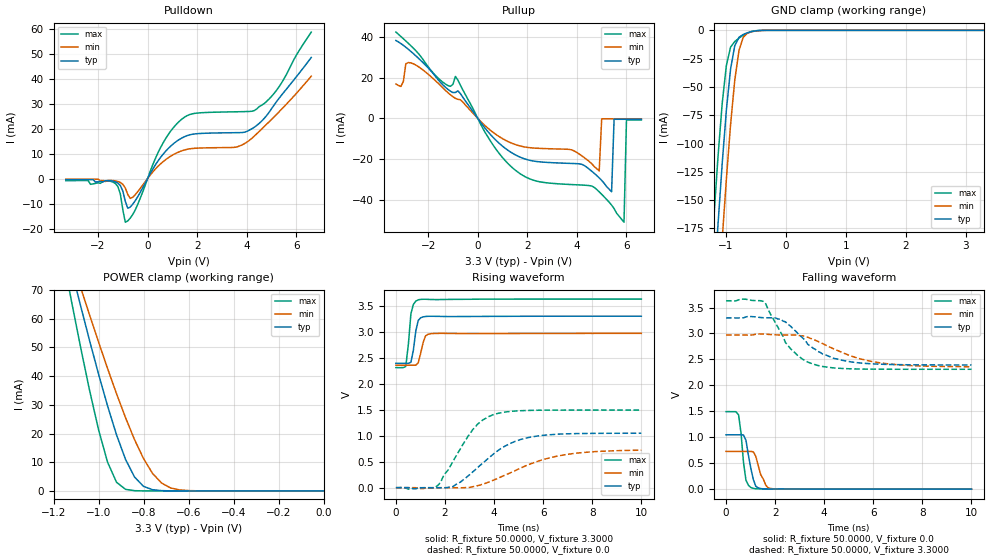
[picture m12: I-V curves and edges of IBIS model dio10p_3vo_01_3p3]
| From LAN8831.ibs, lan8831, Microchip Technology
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|   Model dio10p_3vo_01_3p3
[Model]  dio10p_3vo_01_3p3
Model_type I/O
Polarity   Non-Inverting
Enable   Active-Low
Vinl =   0.0V
Vinh =   3.3000V
Vmeas =  1.6500V
Vref =   0.0V
C_comp   5.0000pF   5.0000pF   5.0000pF
[Temperature Range]   42.0000   0.1250k   -40.0000
[Voltage Range]   3.3000V   2.9700V   3.6300V
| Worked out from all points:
|   slope of the pulldown table from 0 to 0.495 V, typ, clamps not added: 61.3 ohm
|   slope of the pullup table from 0 to 0.495 V, typ, clamps not added: 64.3 ohm
|   GND clamp passes 1 mA (typ) near -0.56 V on its own axis
|   POWER clamp passes 1 mA (typ) near -0.78 V on its own axis
|   rising waveform, R_fixture 50.0000, V_fixture 3.3000: 20-80 % time 180ps typ, 200ps min, 161ps max; typ from 2.39 V to 3.3 V
|   rising waveform, R_fixture 50.0000, V_fixture 0.0: 20-80 % time 1.71ns typ, 2.31ns min, 1.23ns max; typ from 0 V to 1.05 V
|   falling waveform, R_fixture 50.0000, V_fixture 0.0: 20-80 % time 253ps typ, 319ps min, 197ps max; typ from 1.05 V to 0 V
|   falling waveform, R_fixture 50.0000, V_fixture 3.3000: 20-80 % time 1.44ns typ, 1.99ns min, 1.1ns max; typ from 3.3 V to 2.39 V
[Pulldown]
|Voltage   I(typ)   I(min)   I(max)
-3.3V     -470.7uA   -268.2uA   -839.5uA
-1.3V     -1.343mA   -944.2uA   -2.009mA
-1.1V     -2.801mA   -1.574mA   -6.17mA
-900mV    -9.135mA   -3.779mA   -17.47mA
-800mV    -11.89mA   -6.357mA   -16.97mA
-600mV    -10.27mA   -7.48mA    -14.4mA
500mV     8.151mA    5.65mA     11.94mA
1.2V      15.1mA     10.37mA    22.13mA
3.6V      18.35mA    12.66mA    26.71mA
4.4V      21.23mA    17.88mA    27.81mA
5.3V      32.07mA    26.67mA    36.68mA
6.6V      48.42mA    40.96mA    58.59mA
[Pullup]
|Voltage   I(typ)   I(min)   I(max)
-3.3V     38.2mA     16.83mA    42.32mA
-2.6V     31.8mA     26.79mA    34.46mA
-1.3V     15.22mA    13.7mA     16.81mA
-900mV    12.69mA    9.802mA    20.56mA
1.5V      -17.79mA   -12.77mA   -25.28mA
4.9V      -29.2mA    -25.79mA   -36.06mA
5V        -30.44mA   -252.7uA   -37.27mA
5.4V      -36mA      -258.6uA   -42.58mA
5.5V      -447.1uA   -259.9uA   -44.27mA
5.9V      -458.3uA   -264.7uA   -50.95mA
6V        -460.6uA   -265.9uA   -805.3uA
6.6V      -472.5uA   -272.4uA   -833uA
[GND_clamp]
|Voltage   I(typ)   I(min)   I(max)
-3.3V     -2.149A    -2.209A    -2.099A
-1.27V    -288.4mA   -359.5mA   -225.4mA
-1.2V     -229.1mA   -299.7mA   -166.9mA
-1.13V    -171.9mA   -241.4mA   -112.1mA
-1.06V    -118.1mA   -184.9mA   -64.73mA
-990mV    -70.49mA   -131.6mA   -31.02mA
-920mV    -34.14mA   -83.35mA   -14.85mA
-850mV    -13.56mA   -43.87mA   -9.884mA
-780mV    -6.166mA   -17.92mA   -6.843mA
-710mV    -3.679mA   -6.17mA    -4.35mA
-360mV    -21.94uA   -52.7uA    -4.997uA
3.3V      978.8pA    61.69nA    807.4pA
[POWER_clamp]
|Voltage   I(typ)   I(min)   I(max)
-3.28V    820.8mA    663.8mA    1.036A
-1.16V    89.77mA    90.77mA    82.4mA
-1.12V    77.07mA    80.82mA    66.03mA
-1.08V    64.6mA     71mA       50.17mA
-1.04V    52.45mA    61.34mA    35.12mA
-960mV    29.66mA    42.7mA     10.06mA
-920mV    19.55mA    33.87mA    3.016mA
-880mV    11mA       25.53mA    557.8uA
-800mV    1.595mA    11.28mA    12.04uA
-720mV    103.3uA    2.757mA    250.7nA
-640mV    5.814uA    357.2uA    9.889nA
0V        978.8pA    4.152nA    1.25nA
[Ramp]
| variable   typ   min   max
dV/dt_r  0.6286/1.6802n   0.4327/2.2897n   0.8964/1.1927n
dV/dt_f  0.5440/1.4789n   0.3664/1.9697n   0.7919/1.0869n
R_load = 50.0000
[Rising Waveform]
R_fixture= 50.0000
V_fixture= 3.3000
V_fixture_min= 2.9700
V_fixture_max= 3.6300
|time   V(typ)   V(min)   V(max)
0s        2.393V     2.357V     2.311V
400ps     2.394V     2.357V     2.331V
510ps     2.394V     2.357V     2.772V
610ps     2.413V     2.357V     3.345V
710ps     2.643V     2.357V     3.526V
810ps     3.016V     2.358V     3.59V
910ps     3.22V      2.405V     3.616V
1.21ns    3.296V     2.922V     3.626V
1.41ns    3.299V     2.963V     3.622V
10ns      3.3V       2.97V      3.63V
[Rising Waveform]
R_fixture= 50.0000
V_fixture= 0.0
V_fixture_min= 0.0
V_fixture_max= 0.0
|time   V(typ)   V(min)   V(max)
0s        227.6uV    147.4uV    468.9uV
1.52ns    -501.3uV   -564.9uV   -1.134mV
1.72ns    -1.547mV   -25.07uV   48.24mV
2.32ns    20.98mV    -1.025mV   502.3mV
3.13ns    304.2mV    18.3mV     1.118V
3.94ns    634.1mV    138.1mV    1.401V
4.65ns    849.3mV    283.5mV    1.466V
5.66ns    987mV      488.3mV    1.489V
7.37ns    1.041V     664.4mV    1.494V
10ns      1.048V     721.2mV    1.494V
[Falling Waveform]
R_fixture= 50.0000
V_fixture= 0.0
V_fixture_min= 0.0
V_fixture_max= 0.0
|time   V(typ)   V(min)   V(max)
0s        1.048V     727.5mV    1.493V
510ps     1.048V     727.7mV    1.433V
610ps     1.047V     727.6mV    1.083V
710ps     1.045V     727.6mV    521.3mV
810ps     943.5mV    727.5mV    175.9mV
1.11ns    188mV      719.9mV    14.99mV
1.21ns    57.42mV    636.1mV    7.909mV
1.41ns    12.54mV    281mV      6.358mV
1.82ns    2.592mV    13.99mV    3.785mV
10ns      2.431uV    22.42uV    -221.8nV
[Falling Waveform]
R_fixture= 50.0000
V_fixture= 3.3000
V_fixture_min= 2.9700
V_fixture_max= 3.6300
|time   V(typ)   V(min)   V(max)
0s        3.3V       2.97V      3.629V
1.52ns    3.304V     2.99V      3.618V
2.22ns    3.278V     2.971V     3.026V
2.42ns    3.224V     2.971V     2.827V
2.63ns    3.141V     2.971V     2.704V
3.13ns    2.909V     2.954V     2.5V
3.74ns    2.655V     2.848V     2.384V
4.75ns    2.482V     2.63V      2.325V
6.16ns    2.41V      2.443V     2.312V
10ns      2.393V     2.359V     2.31V
